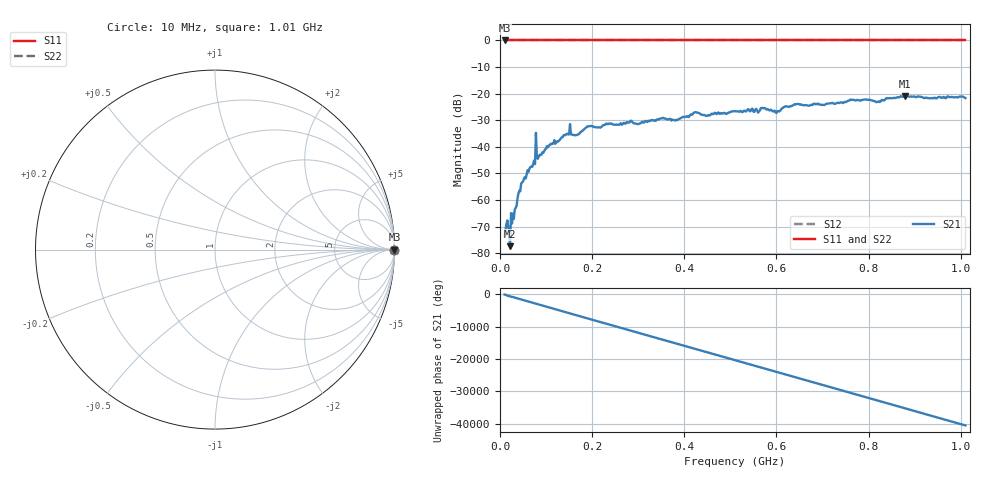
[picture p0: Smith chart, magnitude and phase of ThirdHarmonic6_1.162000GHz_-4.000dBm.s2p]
! 8/16/2025 11:39:30 AM
! C:\ANRITSUVNA\TEMP\TEMP.S2P
! CHANNEL.1
! TR.MEASUREMENT
! RAW.DATA
! RF.CORRECTION.OFF
! AVERAGING.OFF
! IF.BANDWIDTH: 5KHZ
! SWEEPTYPE:  FREQ.SWEEP(Linear)
! Reference Plane Port Info
! PORT:  PORT1  PORT2
! DISTANCE:  0  m  0  m
! TIME:  0  s  0  s
! PHASE.OFFSET:  0  deg.  0  deg.
! LOSS:  0  dB  0  dB
! REF.LOSS:  0  dB  0  dB
! REF.FREQ:  0  Hz  0  Hz
! Power Info
! POWER:  -20  dBm  -20  dBm
! EFF.POWER:  -20  dBm  -20  dBm
! SOURCE.ATTEN:  0  dB  0  dB
! TEST.ATTEN:  0  dB  0  dB
# GHZ S RI R 50.0
! FREQ.GHZ  S11RE  S11IM  S21RE  S21IM  S12RE  S12IM  S22RE  S22IM
!; PortSelection: Port_12
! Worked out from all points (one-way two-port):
!   501 points, 10 MHz to 1.01 GHz, reference 50 ohm
!   highest |S21| = -20.86 dB at 878 MHz (marker M1); lowest = -77.4 dB at 22 MHz (marker M2)
!   lowest |S11| = 0.0 dB at 10 MHz (marker M3)
!   |S11| at or under -10 dB: nowhere
!   |S22| runs from 0.0 to 0.0 dB; largest |S21 - S12| = 1.1
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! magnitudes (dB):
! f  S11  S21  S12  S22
! 10 MHz  0.0  -73.4  0.0  0.0
! 14 MHz  0.0  -69.0  0.0  0.0
! 22 MHz  0.0  -77.4  0.0  0.0
! 44 MHz  0.0  -56.7  0.0  0.0
! 72 MHz  0.0  -46.5  0.0  0.0
! 76 MHz  0.0  -46.5  0.0  0.0
! 82 MHz  0.0  -44.5  0.0  0.0
! 86 MHz  0.0  -43.0  0.0  0.0
! 148 MHz  0.0  -35.4  0.0  0.0
! 164 MHz  0.0  -35.6  0.0  0.0
! 178 MHz  0.0  -34.0  0.0  0.0
! 194 MHz  0.0  -32.3  0.0  0.0
! 344 MHz  0.0  -29.8  0.0  0.0
! 424 MHz  0.0  -27.0  0.0  0.0
! 510 MHz  0.0  -26.6  0.0  0.0
! 572 MHz  0.0  -25.5  0.0  0.0
! 602 MHz  0.0  -26.6  0.0  0.0
! 642 MHz  0.0  -24.1  0.0  0.0
! 678 MHz  0.0  -24.3  0.0  0.0
! 844 MHz  0.0  -21.8  0.0  0.0
! 878 MHz  0.0  -20.9  0.0  0.0
! 1.01 GHz  0.0  -21.7  0.0  0.0
